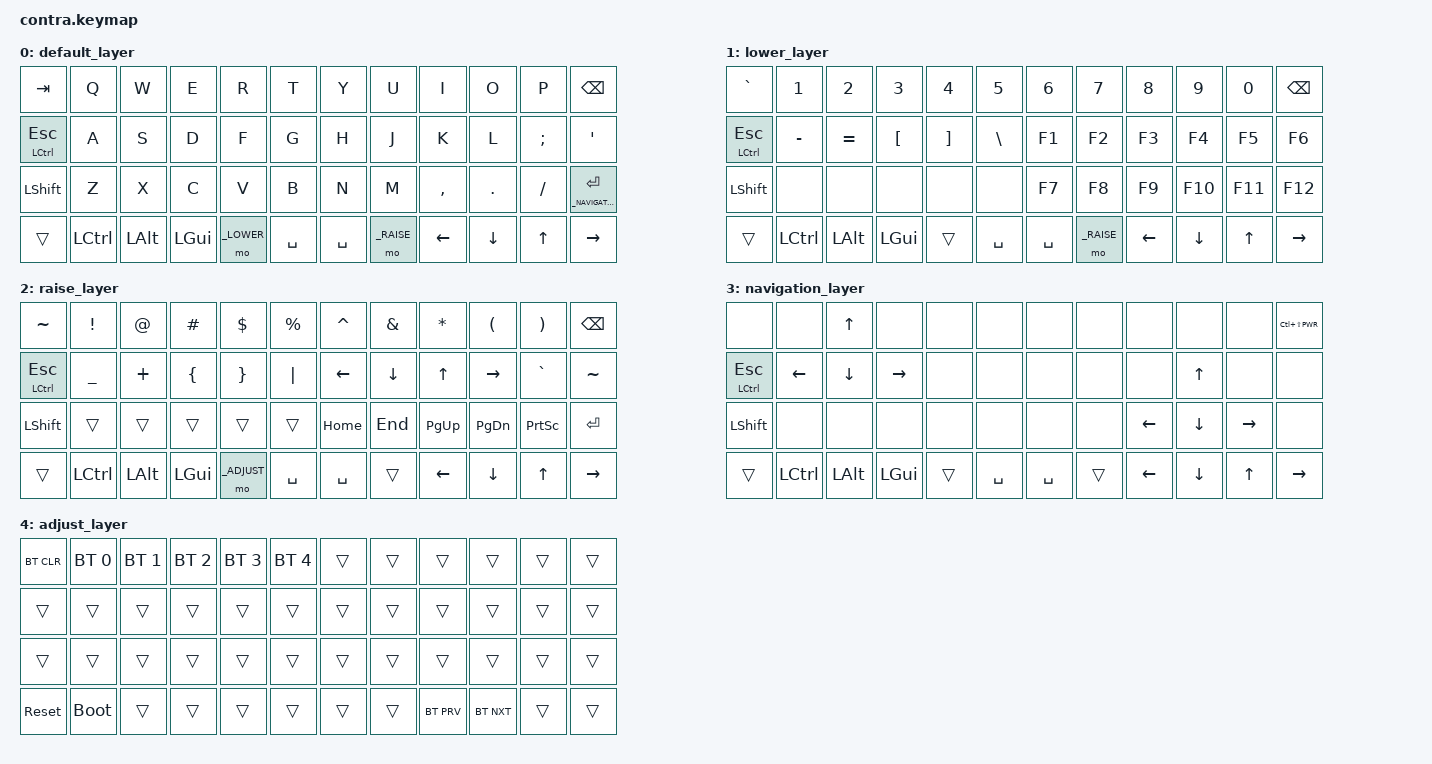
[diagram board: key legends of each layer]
/*
 * Copyright (c) 2021 The ZMK Contributors
 *
 * SPDX-License-Identifier: MIT
 */

#include <behaviors.dtsi>
#include <dt-bindings/zmk/keys.h>
#include <dt-bindings/zmk/bt.h>

// Custom shortcuts
#define _LOCKSCREEN LC(LS(C_PWR)) // Screen Lock shortcut for OSX

// Layers
#define _BASE 0
#define _LOWER 1
#define _RAISE 2
#define _NAVIGATION 3
#define _ADJUST 4

/ {
    keymap {
        compatible = "zmk,keymap";

        default_layer {
            bindings = <
                &kp TAB       &kp Q      &kp W     &kp E     &kp R       &kp T      &kp Y      &kp U       &kp I      &kp O      &kp P     &kp BSPC
                &mt LCTL ESC  &kp A      &kp S     &kp D     &kp F       &kp G      &kp H      &kp J       &kp K      &kp L      &kp SEMI  &kp SQT
                &kp LSHFT     &kp Z      &kp X     &kp C     &kp V       &kp B      &kp N      &kp M       &kp COMMA  &kp DOT    &kp FSLH  &lt _NAVIGATION RET
                &trans        &kp LCTRL  &kp LALT  &kp LGUI  &mo _LOWER  &kp SPACE  &kp SPACE  &mo _RAISE  &kp LEFT   &kp DOWN   &kp UP    &kp RIGHT
            >;
        };

        lower_layer {
            bindings = <
                &kp GRAVE     &kp N1     &kp N2     &kp N3    &kp N4    &kp N5     &kp N6     &kp N7      &kp N8    &kp N9     &kp N0   &kp BSPC
                &mt LCTL ESC  &kp MINUS  &kp EQUAL  &kp LBKT  &kp RBKT  &kp BSLH   &kp F1     &kp F2      &kp F3    &kp F4     &kp F5   &kp F6
                &kp LSHFT     &none      &none      &none     &none     &none      &kp F7     &kp F8      &kp F9    &kp F10    &kp F11  &kp F12
                &trans        &kp LCTRL  &kp LALT   &kp LGUI  &trans    &kp SPACE  &kp SPACE  &mo _RAISE  &kp LEFT  &kp DOWN   &kp UP   &kp RIGHT
            >;
        };

        raise_layer {
            bindings = <
                &kp TILDE     &kp EXCL   &kp AT    &kp HASH  &kp DLLR     &kp PRCNT  &kp CARET  &kp AMPS  &kp ASTRK  &kp LPAR   &kp RPAR   &kp BSPC
                &mt LCTL ESC  &kp UNDER  &kp PLUS  &kp LBRC  &kp RBRC     &kp PIPE   &kp LEFT   &kp DOWN  &kp UP     &kp RIGHT  &kp GRAVE  &kp TILDE
                &kp LSHFT     &trans     &trans    &trans    &trans       &trans     &kp HOME   &kp END   &kp PG_UP  &kp PG_DN  &kp PSCRN  &kp RET
                &trans        &kp LCTRL  &kp LALT  &kp LGUI  &mo _ADJUST  &kp SPACE  &kp SPACE  &trans    &kp LEFT   &kp DOWN   &kp UP     &kp RIGHT
            >;
        };

        navigation_layer {
            bindings = <
                &none         &none      &kp UP    &none      &none   &none      &none      &none   &none     &none      &none      &kp _LOCKSCREEN
                &mt LCTL ESC  &kp LEFT   &kp DOWN  &kp RIGHT  &none   &none      &none      &none   &none     &kp UP     &none      &none
                &kp LSHFT     &none      &none     &none      &none   &none      &none      &none   &kp LEFT  &kp DOWN   &kp RIGHT  &none
                &trans        &kp LCTRL  &kp LALT  &kp LGUI   &trans  &kp SPACE  &kp SPACE  &trans  &kp LEFT  &kp DOWN   &kp UP    &kp RIGHT
            >;
        };

        adjust_layer {
            bindings = <
                &bt BT_CLR  &bt BT_SEL 0  &bt BT_SEL 1  &bt BT_SEL 2  &bt BT_SEL 3  &bt BT_SEL 4  &trans  &trans  &trans      &trans      &trans  &trans
                &trans      &trans        &trans        &trans        &trans        &trans        &trans  &trans  &trans      &trans      &trans  &trans
                &trans      &trans        &trans        &trans        &trans        &trans        &trans  &trans  &trans      &trans      &trans  &trans
                &sys_reset  &bootloader   &trans        &trans        &trans        &trans        &trans  &trans  &bt BT_PRV  &bt BT_NXT  &trans  &trans
            >;
        };
    };
};
